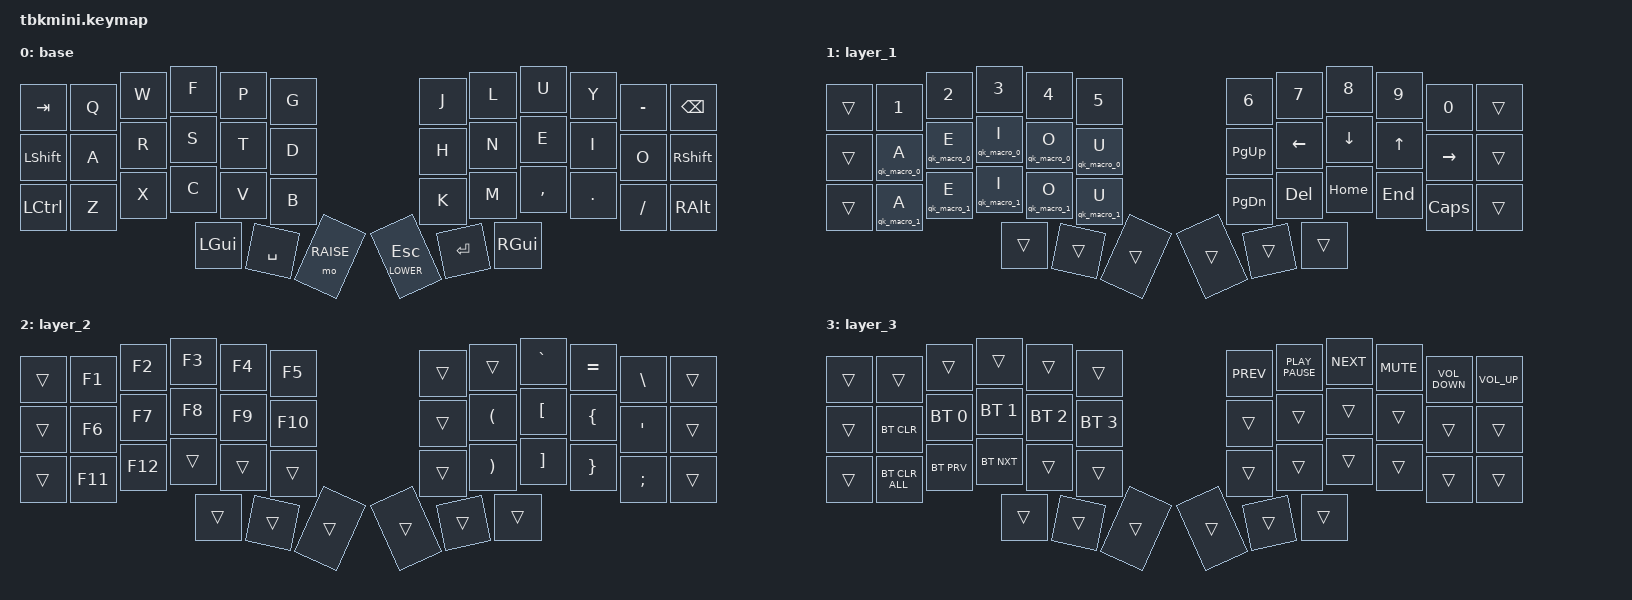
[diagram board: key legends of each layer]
#include <behaviors.dtsi>
#include <dt-bindings/zmk/keys.h>
#include <dt-bindings/zmk/bt.h>
#include <dt-bindings/zmk/rgb.h>

#define DEFAULT 0
#define LOWER   1
#define RAISE   2
#define EXTRA   3

// &led_strip {
//     chain-length = <27>;
// };

/ {
    macros {
        qk_macro_0: qk_macro_0 {
            compatible = "zmk,behavior-macro-one-param";
            #binding-cells = <1>;
            bindings
                = <&macro_tap &kp CAPSLOCK>
                , <&macro_tap &kp GRAVE>
                // , <&macro_release &kp LALT>
                , <&macro_param_1to1>
                , <&macro_tap &kp MACRO_PLACEHOLDER>
                ;
        };
        qk_macro_1: qk_macro_1 {
            compatible = "zmk,behavior-macro-one-param";
            #binding-cells = <1>;
            bindings
                = <&macro_tap &kp CAPSLOCK>
                , <&macro_tap &kp SQT>
                // , <&macro_release &kp LALT>
                , <&macro_param_1to1>
                , <&macro_tap &kp MACRO_PLACEHOLDER>
                ;
        };
    };
    conditional_layers {
        compatible = "zmk,conditional-layers";
        tri_layer {
            if-layers = <LOWER RAISE>;
            then-layer = <EXTRA>;
        };
    };
    // behaviors {
    //     hm: homerow_mods {
    //         compatible = "zmk,behavior-hold-tap";
    //         #binding-cells = <2>;
    //         tapping-term-ms = <150>;
    //         quick-tap-ms = <0>;
    //         flavor = "tap-preferred";
    //         bindings = <&kp>, <&kp>;
    //     };
    // };
    keymap {
        compatible = "zmk,keymap";

        base {
            bindings = <
&kp TAB    &kp Q  &kp W  &kp F     &kp P      &kp G              &kp J          &kp L    &kp U      &kp Y    &kp MINUS  &kp BSPC
&kp LSHFT  &kp A  &kp R  &kp S     &kp T      &kp D              &kp H          &kp N    &kp E      &kp I    &kp O      &kp RSHFT
&kp LCTRL  &kp Z  &kp X  &kp C     &kp V      &kp B              &kp K          &kp M    &kp COMMA  &kp DOT  &kp FSLH   &kp RALT
                         &kp LGUI  &kp SPACE  &mo RAISE          &lt LOWER ESC  &kp RET  &kp RGUI
            >;
        };

        layer_1 {
            bindings = <
&trans  &kp N1         &kp N2         &kp N3         &kp N4         &kp N5               &kp N6         &kp N7          &kp N8          &kp N9        &kp N0           &trans
&trans  &qk_macro_0 A  &qk_macro_0 E  &qk_macro_0 I  &qk_macro_0 O  &qk_macro_0 U        &kp PAGE_UP    &kp LEFT_ARROW  &kp DOWN_ARROW  &kp UP_ARROW  &kp RIGHT_ARROW  &trans
&trans  &qk_macro_1 A  &qk_macro_1 E  &qk_macro_1 I  &qk_macro_1 O  &qk_macro_1 U        &kp PAGE_DOWN  &kp DELETE      &kp HOME        &kp END       &kp CAPSLOCK     &trans
                                      &trans         &trans         &trans               &trans         &trans          &trans
            >;
        };

        layer_2 {
            bindings = <
&trans  &kp F1   &kp F2   &kp F3  &kp F4  &kp F5                                         &trans  &trans                 &kp GRAVE  &kp EQUAL        &kp BSLH  &trans
&trans  &kp F6   &kp F7   &kp F8  &kp F9  &kp F10                                        &trans  &kp LEFT_PARENTHESIS   &kp LBKT   &kp LEFT_BRACE   &kp SQT   &trans
&trans  &kp F11  &kp F12  &trans  &trans  &trans                                         &trans  &kp RIGHT_PARENTHESIS  &kp RBKT   &kp RIGHT_BRACE  &kp SEMI  &trans
                          &trans  &trans  &trans                                         &trans  &trans                 &trans
            >;
        };

        layer_3 {
            bindings = <
&trans  &trans          &trans        &trans        &trans        &trans                 &kp K_PREV  &kp K_PLAY_PAUSE  &kp K_NEXT  &kp K_MUTE  &kp K_VOLUME_DOWN  &kp K_VOLUME_UP
&trans          &bt BT_CLR      &bt BT_SEL 0  &bt BT_SEL 1  &bt BT_SEL 2  &bt BT_SEL 3           &trans      &trans            &trans      &trans      &trans             &trans
&trans          &bt BT_CLR_ALL  &bt BT_PRV    &bt BT_NXT    &trans        &trans                 &trans      &trans            &trans      &trans      &trans             &trans
                                      &trans        &trans        &trans                 &trans      &trans            &trans
            >;
        };

        extra1 {
            status = "reserved";
        };

//         layer_3 {
//             bindings = <
// &kp ESC    &trans          &trans        &trans        &trans        &trans                 &kp K_PREV       &kp K_PLAY_PAUSE  &kp K_NEXT       &kp K_MUTE       &kp K_VOLUME_DOWN  &kp K_VOLUME_UP
// &kp LSHFT  &bt BT_CLR      &bt BT_SEL 0  &bt BT_SEL 1  &bt BT_SEL 2  &bt BT_SEL 3           &rgb_ug RGB_EFF  &rgb_ug RGB_BRI   &rgb_ug RGB_HUI  &rgb_ug RGB_SAI  &trans             &trans
// &kp LCTRL  &bt BT_CLR_ALL  &bt BT_PRV    &bt BT_NXT    &trans        &trans                 &rgb_ug RGB_TOG  &rgb_ug RGB_BRD   &rgb_ug RGB_HUD  &rgb_ug RGB_SAD  &trans             &trans
//                                          &trans        &trans        &trans                 &trans           &trans            &trans
//             >;
//         };
    };
};
